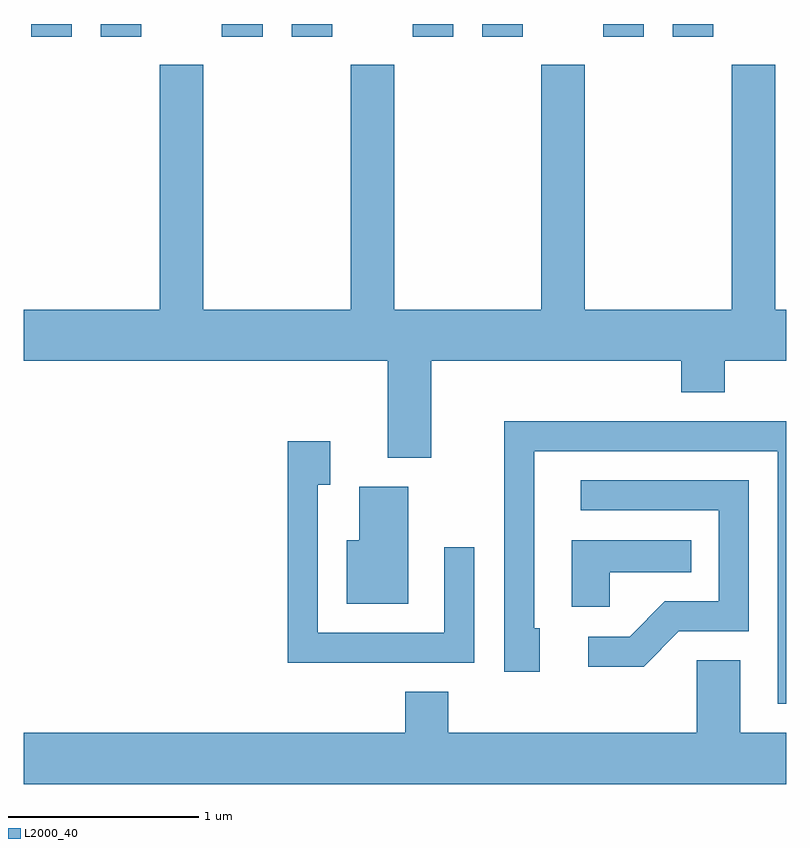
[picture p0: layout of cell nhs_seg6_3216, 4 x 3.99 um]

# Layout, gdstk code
import gdstk
lib = gdstk.Library(unit=1e-6, precision=1e-09)
def R(c, l, rs):  # rectangles x0, y0, x1, y1
    for r in rs: c.add(gdstk.rectangle(r[:2], r[2:], *l))
def P(c, l, *ps):  # polygons
    for p in ps: c.add(gdstk.Polygon(p, *l))
L2000_40 = (2000, 40)

nhs_seg6_3216 = lib.new_cell('nhs_seg6_3216')
R(nhs_seg6_3216, L2000_40, [(281.651,1636.096,281.864,1636.162), (282.016,1636.096,282.229,1636.162), (282.651,1636.096,282.864,1636.162), (283.016,1636.096,283.229,1636.162), (283.651,1636.096,283.864,1636.162), (284.016,1636.096,284.229,1636.162), (284.651,1636.096,284.864,1636.162), (285.016,1636.096,285.229,1636.162)])
P(nhs_seg6_3216, L2000_40, [(285.061,1634.231),(285.289,1634.231),(285.289,1634.396),(285.611,1634.396),(285.611,1634.664),(285.554,1634.664),(285.554,1635.949),(285.326,1635.949),(285.326,1634.664),(284.554,1634.664),(284.554,1635.949),(284.326,1635.949),(284.326,1634.664),(283.554,1634.664),(283.554,1635.949),(283.326,1635.949),(283.326,1634.664),(282.554,1634.664),(282.554,1635.949),(282.326,1635.949),(282.326,1634.664),(281.611,1634.664),(281.611,1634.396),(283.521,1634.396),(283.521,1633.886),(283.749,1633.886),(283.749,1634.396),(285.061,1634.396)],
  [(285.611,1634.079),(284.131,1634.079),(284.131,1632.766),(284.319,1632.766),(284.319,1632.994),(284.289,1632.994),(284.289,1633.921),(285.566,1633.921),(285.566,1632.596),(285.611,1632.596)],
  [(283.974,1633.418),(283.816,1633.418),(283.816,1632.969),(283.154,1632.969),(283.154,1633.746),(283.219,1633.746),(283.219,1633.974),(282.996,1633.974),(282.996,1632.811),(283.974,1632.811)],
  [(285.047,1632.976),(285.414,1632.976),(285.414,1633.769),(284.533,1633.769),(284.533,1633.611),(285.256,1633.611),(285.256,1633.134),(284.974,1633.134),(284.789,1632.949),(284.573,1632.949),(284.573,1632.791),(284.862,1632.791)],
  [(283.629,1633.734),(283.371,1633.734),(283.371,1633.454),(283.306,1633.454),(283.306,1633.121),(283.629,1633.121)],
  [(284.684,1633.286),(285.113,1633.286),(285.113,1633.454),(284.486,1633.454),(284.486,1633.106),(284.684,1633.106)],
  [(285.611,1632.444),(285.369,1632.444),(285.369,1632.824),(285.141,1632.824),(285.141,1632.444),(283.839,1632.444),(283.839,1632.659),(283.611,1632.659),(283.611,1632.444),(281.611,1632.444),(281.611,1632.176),(285.611,1632.176)])

lib.write_gds('nhs_seg6_3216.gds')
